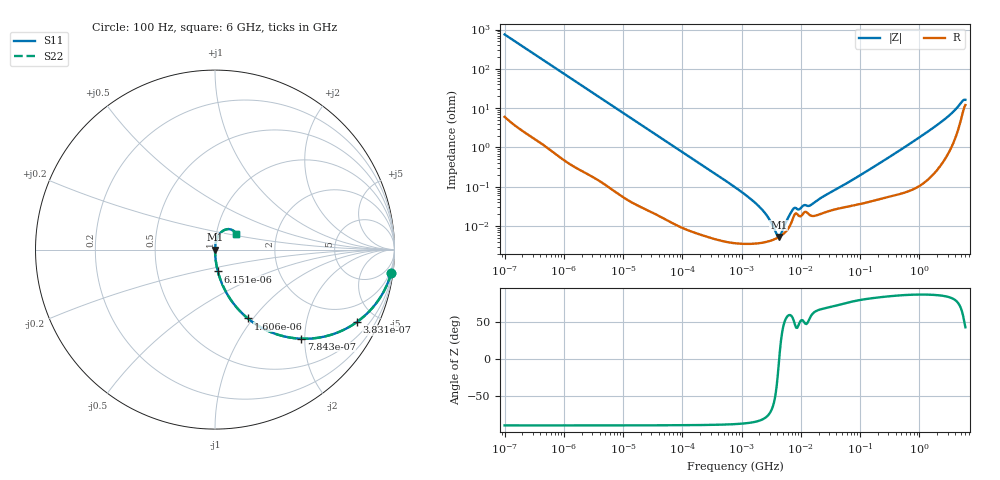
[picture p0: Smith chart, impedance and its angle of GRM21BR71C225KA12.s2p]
!Murata Part Number: GRM21BR71C225KA12
!These Parameters are Measured in Series Mode Connection
!  o--ll--o
!Port1  Port2
!  o------o
!Operation Temp=25[degC], DC Bias Voltage=0[V]
!Freq. Start=100[Hz] Stop=6[GHz], 401[Steps]
!Data Generated on Feb 1, 2022
# Hz S RI R 50
!Freq.(Hz) S11(Real) S11(Imag) S21(Real) S21(Imag) S12(Real) S12(Imag) S22(Real) S22(Imag)
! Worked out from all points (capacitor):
!   401 points, 100 Hz to 6 GHz, reference 50 ohm
!   read as one part in series: C = 2.13 uF near 109.4 Hz
!   lowest |Z| = 5.27 mohm at 4.246 MHz (marker M1)
!   series resonance near 4.317 MHz, so ESL is about 640 pH
!   S11 on the Smith chart (normalised r, x): 100 Hz: 1, -15; 383.1 Hz: 1.03, -3.92; 784.3 Hz: 1.01, -1.92; 1.606 kHz: 1.01, -0.94; 6.151 kHz: 1.00, -0.25; 6 GHz: 1.24, +0.22
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100  0.9814 -0.1311  0.0186 0.1311  0.0186 0.1311  0.9814 -0.1311
214.0777  0.923 -0.2631  0.077 0.2631  0.077 0.2631  0.923 -0.2631
383.1434  0.792 -0.4024  0.208 0.4024  0.208 0.4024  0.792 -0.4024
784.3094  0.4803 -0.4964  0.5197 0.4964  0.5197 0.4964  0.4803 -0.4964
1605.512  0.1829 -0.3834  0.8171 0.3834  0.8171 0.3834  0.1829 -0.3834
2008.354  0.1258 -0.3283  0.8742 0.3283  0.8742 0.3283  0.1258 -0.3283
6151.412  0.0159 -0.1215  0.9841 0.1215  0.9841 0.1215  0.0159 -0.1215
40334.87  0.000542 -0.019  0.9995 0.019  0.9995 0.019  0.000542 -0.019
774596.7  3.75e-05 -0.000973  1 0.000973  1 0.000973  3.75e-05 -0.000973
1983483  3.68e-05 -0.000311  1 0.000311  1 0.000311  3.68e-05 -0.000311
2594782  3.95e-05 -0.000193  1 0.000193  1 0.000193  3.95e-05 -0.000193
3394479  4.46e-05 -8.89e-05  1 8.89e-05  1 8.89e-05  4.46e-05 -8.89e-05
4246196  5.24e-05 -6.03e-06  0.9999 6.03e-06  0.9999 6.03e-06  5.24e-05 -6.03e-06
5311619  6.71e-05 7.98e-05  0.9999 -7.98e-05  0.9999 -7.98e-05  6.71e-05 7.98e-05
7599586  0.000176 0.000221  0.9998 -0.000221  0.9998 -0.000221  0.000176 0.000221
9506416  0.000178 0.000202  0.9998 -0.000202  0.9998 -0.000202  0.000178 0.000202
1.555665e7  0.000181 0.000315  0.9998 -0.000315  0.9998 -0.000315  0.000181 0.000315
3.124326e8  0.000592 0.00567  0.9994 -0.00567  0.9994 -0.00567  0.000592 0.00567
1.431855e9  0.00224 0.0259  0.9978 -0.0259  0.9978 -0.0259  0.00224 0.0259
3.205649e9  0.0119 0.0635  0.9881 -0.0635  0.9881 -0.0635  0.0119 0.0635
5.245841e9  0.0739 0.1144  0.9261 -0.1144  0.9261 -0.1144  0.0739 0.1144
6e9  0.1156 0.087  0.8844 -0.087  0.8844 -0.087  0.1156 0.087
